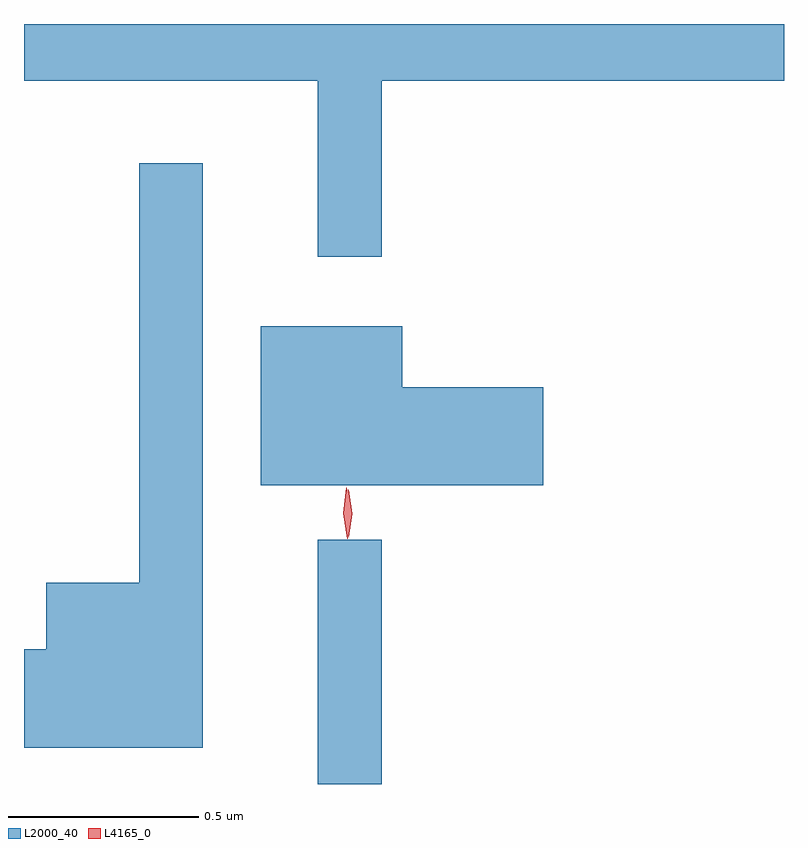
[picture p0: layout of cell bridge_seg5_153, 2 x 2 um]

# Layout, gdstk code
import gdstk
lib = gdstk.Library(unit=1e-6, precision=1e-09)
def R(c, l, rs):  # rectangles x0, y0, x1, y1
    for r in rs: c.add(gdstk.rectangle(r[:2], r[2:], *l))
def P(c, l, *ps):  # polygons
    for p in ps: c.add(gdstk.Polygon(p, *l))
L2000_40 = (2000, 40)
L4165_0 = (4165, 0)

bridge_seg5_153 = lib.new_cell('bridge_seg5_153')
R(bridge_seg5_153, L2000_40, [(1130.281,1408.325,1130.449,1408.968)])
P(bridge_seg5_153, L2000_40, [(1130.449,1410.176),(1131.508,1410.176),(1131.508,1410.325),(1129.508,1410.325),(1129.508,1410.176),(1130.281,1410.176),(1130.281,1409.713),(1130.449,1409.713)],
  [(1129.979,1409.958),(1129.811,1409.958),(1129.811,1408.854),(1129.566,1408.854),(1129.566,1408.679),(1129.508,1408.679),(1129.508,1408.421),(1129.979,1408.421)],
  [(1130.874,1409.369),(1130.504,1409.369),(1130.504,1409.529),(1130.131,1409.529),(1130.131,1409.111),(1130.874,1409.111)])
P(bridge_seg5_153, L4165_0, [(1130.359,1408.97),(1130.348,1409.038),(1130.356,1409.105),(1130.357,1409.105),(1130.357,1409.105),(1130.368,1409.038),(1130.36,1408.97),(1130.36,1408.97)],
  [(1130.362,1408.974),(1130.352,1409.036),(1130.361,1409.099),(1130.362,1409.099),(1130.362,1409.099),(1130.372,1409.036),(1130.363,1408.974),(1130.363,1408.974)])

lib.write_gds('bridge_seg5_153.gds')
